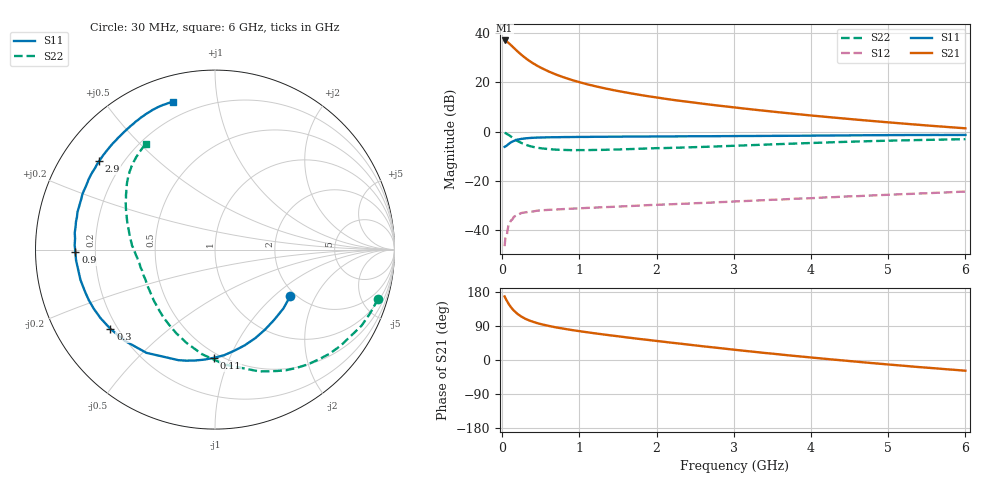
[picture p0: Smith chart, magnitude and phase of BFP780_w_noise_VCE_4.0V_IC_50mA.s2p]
! Infineon Technologies  Discrete & RF Semiconductors
! BFP780
! VCE =  4.0 V,  IC =  50 mA
! Common Emitter S-Parameters:  Jul 2015
# GHz  S  MA  R  50
!  f  S11  S21  S12  S22
! GHz  MAG  ANG  MAG  ANG  MAG  ANG  MAG  ANG
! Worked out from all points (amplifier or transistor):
!   75 points, 30 MHz to 6 GHz, reference 50 ohm
!   highest |S21| = 36.9 dB at 30 MHz (marker M1)
!   |S21| within 3 dB of that: start of sweep to 149.3 MHz
!   unconditionally stable (mu >= 1): 1.988 GHz to end of sweep
!   at 150 MHz: K = 0.15, MSG = 34.2 dB, |S12| = -34.5 dB
!   at 2.3 GHz: K = 1.09, MAG = 19.0 dB, |S12| = -29.2 dB
!   at 6 GHz: K = 1.24, MAG = 9.8 dB, |S12| = -24.3 dB
!   lowest NFmin = 1.39 dB at 450 MHz
!   S11 on the Smith chart (normalised r, x): 30 MHz: 1.89, -1.28; 110 MHz: 0.46, -0.88; 300 MHz: 0.17, -0.33; 900 MHz: 0.12, -0.01; 2.9 GHz: 0.12, +0.33; 6 GHz: 0.12, +0.75
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0.03  0.4927 -31.4  70.18 167.7  0.0048 67.9  0.9494 -16.8
0.05  0.5116 -49.8  67.74 159.6  0.0076 71.2  0.9198 -27.5
0.07  0.542 -65.5  64.48 152.4  0.0105 58.9  0.881 -37.5
0.09  0.5733 -79.1  60.77 145.8  0.0132 53.8  0.8407 -46.8
0.11  0.6028 -90.5  56.88 140.0  0.0156 52.9  0.7996 -55.6
0.13  0.6281 -100.3  53.16 134.9  0.0167 49.1  0.7579 -63.2
0.15  0.6488 -108.3  49.57 130.4  0.0189 46.0  0.7217 -70.1
0.2  0.6905 -123.6  41.77 121.2  0.0208 37.5  0.6436 -85.0
0.25  0.7145 -134.6  35.73 114.2  0.0226 33.8  0.5878 -96.9
0.3  0.7311 -142.8  30.91 108.7  0.0232 29.3  0.5446 -106.7
0.4  0.7513 -154.0  24.12 100.7  0.0242 25.7  0.4905 -121.5
0.5  0.7608 -161.7  19.68 94.8  0.0255 23.1  0.4605 -132.2
0.7  0.7707 -171.9  14.25 85.9  0.0265 21.0  0.4312 -147.0
0.9  0.778 -178.9  11.13 79.1  0.0276 20.4  0.4218 -156.7
1.1  0.782 175.5  9.101 73.2  0.0286 20.5  0.4225 -163.9
1.5  0.7902 166.7  6.642 62.6  0.0304 21.0  0.4351 -173.8
2.1  0.8009 155.7  4.656 47.9  0.0335 22.2  0.4652 175.9
2.9  0.812 142.7  3.231 29.5  0.0378 23.0  0.5105 163.0
3.1  0.8154 139.6  2.976 25.1  0.0391 23.0  0.524 159.8
4.1  0.8316 125.5  2.056 4.7  0.0458 21.9  0.5963 146.0
5.1  0.8525 114.2  1.499 -13.5  0.0535 18.5  0.6611 133.9
6  0.8568 106.0  1.168 -28.3  0.0612 14.0  0.7038 123.2
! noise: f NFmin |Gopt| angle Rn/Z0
0.45  1.39  0.42  -177  0.07
0.9  1.42  0.4  -172  0.08
1.5  1.49  0.47  -163  0.08
1.8  1.66  0.48  -159  0.09
2.4  1.79  0.49  -150  0.12
3  2.06  0.53  -140  0.17
3.5  2.54  0.67  -126  0.26
